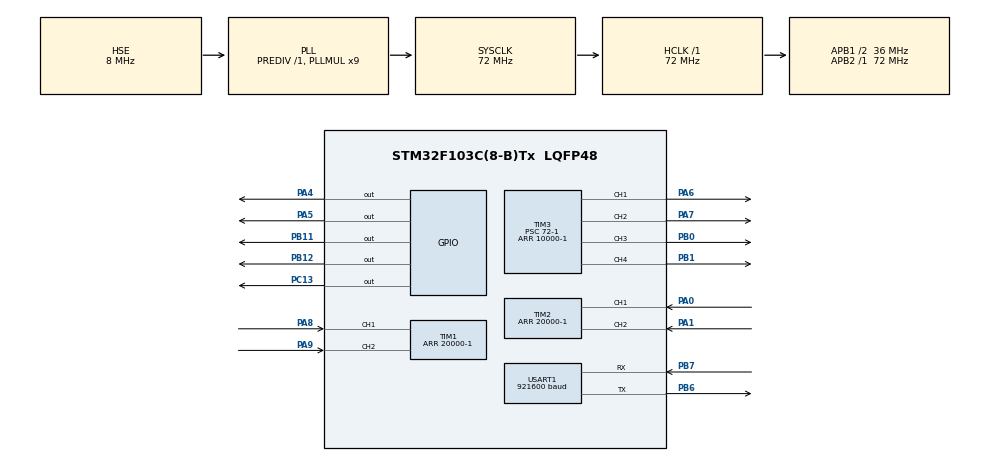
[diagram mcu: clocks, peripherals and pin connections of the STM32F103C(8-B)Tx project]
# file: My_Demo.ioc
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Dma.Request0=USART1_RX
Dma.USART1_RX.0.Direction=DMA_PERIPH_TO_MEMORY
Dma.USART1_RX.0.Instance=DMA1_Channel5
Dma.USART1_RX.0.MemDataAlignment=DMA_MDATAALIGN_BYTE
Dma.USART1_RX.0.MemInc=DMA_MINC_ENABLE
Dma.USART1_RX.0.Mode=DMA_NORMAL
Dma.USART1_RX.0.PeriphDataAlignment=DMA_PDATAALIGN_BYTE
Dma.USART1_RX.0.PeriphInc=DMA_PINC_DISABLE
Dma.USART1_RX.0.Priority=DMA_PRIORITY_LOW
Mcu.Family=STM32F1
Mcu.Name=STM32F103C(8-B)Tx
Mcu.Package=LQFP48
NVIC.DMA1_Channel5_IRQn=true\:0\:0\:false\:false\:true\:false\:true\:true
NVIC.PriorityGroup=NVIC_PRIORITYGROUP_4
NVIC.TIM3_IRQn=true\:0\:0\:true\:false\:true\:true\:true\:true
NVIC.TIM4_IRQn=true\:0\:0\:false\:false\:true\:true\:true\:true
NVIC.USART1_IRQn=true\:0\:0\:false\:false\:true\:true\:true\:true
PA0-WKUP.GPIO_PuPd=GPIO_PULLUP
PA0-WKUP.Signal=S_TIM2_CH1_ETR
PA1.GPIO_PuPd=GPIO_PULLUP
PA1.Signal=S_TIM2_CH2
PA13.Mode=Serial_Wire
PA13.Signal=SYS_JTMS-SWDIO
PA14.Mode=Serial_Wire
PA14.Signal=SYS_JTCK-SWCLK
PA4.Signal=GPIO_Output
PA5.Signal=GPIO_Output
PA6.Signal=S_TIM3_CH1
PA7.Signal=S_TIM3_CH2
PA8.GPIO_PuPd=GPIO_PULLUP
PA8.Signal=S_TIM1_CH1
PA9.GPIO_PuPd=GPIO_PULLUP
PA9.Signal=S_TIM1_CH2
PB0.Signal=S_TIM3_CH3
PB1.Signal=S_TIM3_CH4
PB11.Signal=GPIO_Output
PB12.Signal=GPIO_Output
PB6.Mode=Asynchronous
PB6.Signal=USART1_TX
PB7.Mode=Asynchronous
PB7.Signal=USART1_RX
PC13-TAMPER-RTC.Signal=GPIO_Output
PD0-OSC_IN.Mode=HSE-External-Oscillator
PD0-OSC_IN.Signal=RCC_OSC_IN
PD1-OSC_OUT.Mode=HSE-External-Oscillator
PD1-OSC_OUT.Signal=RCC_OSC_OUT
ProjectManager.HeapSize=0x200
ProjectManager.StackSize=0x400
ProjectManager.TargetToolchain=MDK-ARM V5.32
RCC.AHBFreq_Value=72000000
RCC.APB1CLKDivider=RCC_HCLK_DIV2
RCC.APB1Freq_Value=36000000
RCC.APB1TimFreq_Value=72000000
RCC.APB2Freq_Value=72000000
RCC.APB2TimFreq_Value=72000000
RCC.HCLKFreq_Value=72000000
RCC.PLLMUL=RCC_PLL_MUL9
RCC.PLLSourceVirtual=RCC_PLLSOURCE_HSE
RCC.SYSCLKFreq_VALUE=72000000
RCC.SYSCLKSource=RCC_SYSCLKSOURCE_PLLCLK
RCC.USBFreq_Value=72000000
SH.S_TIM1_CH1.0=TIM1_CH1,Encoder_Interface
SH.S_TIM1_CH2.0=TIM1_CH2,Encoder_Interface
SH.S_TIM2_CH1_ETR.0=TIM2_CH1,Encoder_Interface
SH.S_TIM2_CH2.0=TIM2_CH2,Encoder_Interface
SH.S_TIM3_CH1.0=TIM3_CH1,PWM Generation1 CH1
SH.S_TIM3_CH2.0=TIM3_CH2,PWM Generation2 CH2
SH.S_TIM3_CH3.0=TIM3_CH3,PWM Generation3 CH3
SH.S_TIM3_CH4.0=TIM3_CH4,PWM Generation4 CH4
TIM1.EncoderMode=TIM_ENCODERMODE_TI12
TIM1.Period=20000-1
TIM2.EncoderMode=TIM_ENCODERMODE_TI12
TIM2.Period=20000-1
TIM3.Channel-PWM\ Generation1\ CH1=TIM_CHANNEL_1
TIM3.Channel-PWM\ Generation2\ CH2=TIM_CHANNEL_2
TIM3.Channel-PWM\ Generation3\ CH3=TIM_CHANNEL_3
TIM3.Channel-PWM\ Generation4\ CH4=TIM_CHANNEL_4
TIM3.Period=10000-1
TIM3.Prescaler=72-1
TIM4.Period=10000-1
TIM4.Prescaler=72-1
USART1.BaudRate=921600
USART1.VirtualMode=VM_ASYNC
VP_TIM3_VS_ClockSourceINT.Mode=Internal
VP_TIM4_VS_ClockSourceINT.Mode=Internal
board=custom

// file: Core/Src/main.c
/* USER CODE BEGIN Header */
/**
 ******************************************************************************
 * @file           : main.c
 * @brief          : Main program body
 ******************************************************************************
 * @attention
 *
 * Copyright (c) 2024 STMicroelectronics.
 * All rights reserved.
 *
 * This software is licensed under terms that can be found in the LICENSE file
 * in the root directory of this software component.
 * If no LICENSE file comes with this software, it is provided AS-IS.
 *
 ******************************************************************************
 */
/* USER CODE END Header */
#include "main.h"
#include "dma.h"
#include "tim.h"
#include "usart.h"
#include "gpio.h"

/* USER CODE BEGIN Includes */
#include "stdio.h"
#include "uart.h"
#include "encode.h"
#include "mymain.h"
#include "time.h"
/* USER CODE END Includes */

/* USER CODE BEGIN PV */

// the record of tick time

int tick_time = 0;
// the flag of the timer4
int pulse4_flag1 = 0;
int pulse4_flag2 = 0;
// set num of pulse4
int pulse4_set1 = 0;
int pulse4_set2 = 0;
// num of pulse4
int pulse4_1 = 0;
int pulse4_2 = 0;
// angle of steering engine
float angle1 = 0;
// recode the last order
uint8_t last_order = '0';
uint8_t last_motor = '0';
uint8_t new_order = '0';
uint8_t new_motor = '0';
// speed of brush motor
float BM_speed1_now = 0;
float BM_speed2_now = 0;

/* USER CODE END PV */

void SystemClock_Config(void);

/* USER CODE BEGIN 0 */
int fputc(int ch, FILE *f) // printf
{
  HAL_UART_Transmit(&huart1, (uint8_t *)&ch, 1, 0xffff);
  return ch;
}

int fgetc(FILE *f) // getchar
{
  uint8_t ch = 0;
  HAL_UART_Receive(&huart1, &ch, 1, 0xffff);
  return ch;
}
/* USER CODE END 0 */

int main(void)
{

  /* MCU Configuration--------------------------------------------------------*/

  /* Reset of all peripherals, Initializes the Flash interface and the Systick. */
  HAL_Init();

  /* Configure the system clock */
  SystemClock_Config();

  /* Initialize all configured peripherals */
  MX_GPIO_Init();
  MX_DMA_Init();
  MX_USART1_UART_Init();
  MX_TIM3_Init();
  MX_TIM4_Init();
  MX_TIM1_Init();
  MX_TIM2_Init();
  /* USER CODE BEGIN 2 */
  My_TIME_Init();
  // start the uart1 reciver
  uart_init();
  // pid init
  PID_Init();
  /* USER CODE END 2 */

  /* Infinite loop */
  while (1)
  {

    /* USER CODE BEGIN 3 */

    // Think about ChengDong Yu, Think about Jun Lei, Think about every pioneer
    // Every thing will past; drop the burden
    // Think positively; just keep the most important
    // Take Action!

    // print something to debug

    HAL_Delay(10);

    // printf("pulse4_1: %d\r\n", pulse4_1);
    // printf("tick_time: %d\r\n", tick_time);

    printf("%f,%f,%f,%f,%f\r\n",

    motor1.position,
    motor1.position_target,
    motor1.speed,
    motor1.speed_target,
    motor1.motor_Out

    );

    // the led of life
    life_led();

    // the main function
    mymain();
    // open the uart1 reciver
  }
  /* USER CODE END 3 */
}

void SystemClock_Config(void)
{
  RCC_OscInitTypeDef RCC_OscInitStruct = {0};
  RCC_ClkInitTypeDef RCC_ClkInitStruct = {0};

  /** Initializes the RCC Oscillators according to the specified parameters
  * in the RCC_OscInitTypeDef structure.
  */
  RCC_OscInitStruct.OscillatorType = RCC_OSCILLATORTYPE_HSE;
  RCC_OscInitStruct.HSEState = RCC_HSE_ON;
  RCC_OscInitStruct.HSEPredivValue = RCC_HSE_PREDIV_DIV1;
  RCC_OscInitStruct.HSIState = RCC_HSI_ON;
  RCC_OscInitStruct.PLL.PLLState = RCC_PLL_ON;
  RCC_OscInitStruct.PLL.PLLSource = RCC_PLLSOURCE_HSE;
  RCC_OscInitStruct.PLL.PLLMUL = RCC_PLL_MUL9;
  if (HAL_RCC_OscConfig(&RCC_OscInitStruct) != HAL_OK)
  {
    Error_Handler();
  }

  /** Initializes the CPU, AHB and APB buses clocks
  */
  RCC_ClkInitStruct.ClockType = RCC_CLOCKTYPE_HCLK|RCC_CLOCKTYPE_SYSCLK
                              |RCC_CLOCKTYPE_PCLK1|RCC_CLOCKTYPE_PCLK2;
  RCC_ClkInitStruct.SYSCLKSource = RCC_SYSCLKSOURCE_PLLCLK;
  RCC_ClkInitStruct.AHBCLKDivider = RCC_SYSCLK_DIV1;
  RCC_ClkInitStruct.APB1CLKDivider = RCC_HCLK_DIV2;
  RCC_ClkInitStruct.APB2CLKDivider = RCC_HCLK_DIV1;

  if (HAL_RCC_ClockConfig(&RCC_ClkInitStruct, FLASH_LATENCY_2) != HAL_OK)
  {
    Error_Handler();
  }
}

void Error_Handler(void)
{
  __disable_irq();
  while (1)
  {
  }
}
